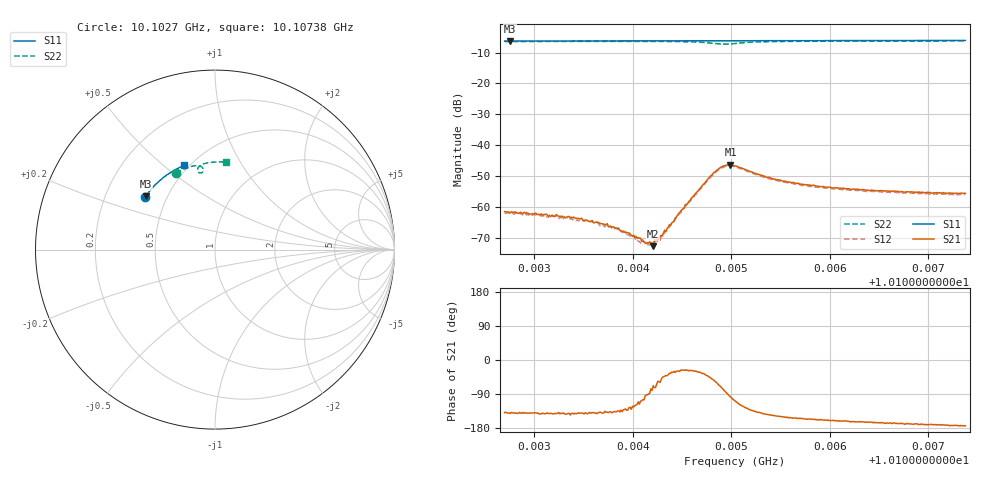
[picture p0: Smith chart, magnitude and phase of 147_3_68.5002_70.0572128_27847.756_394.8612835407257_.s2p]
#  HZ  S  RI  R  50.00
! Rohde & Schwarz Vector Network Analyzer
! Rohde-Schwarz,ZNB20-2Port,1311601062101988,3.16
! Created: UTC 3/20/2024, 5:10:16 PM
! freq[Hz]  re:S11  im:S11  re:S21  im:S21  re:S12  im:S12  re:S22  im:S22
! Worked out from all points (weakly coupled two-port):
!   401 points, 10.1027 GHz to 10.10738 GHz, reference 50 ohm
!   highest |S21| = -46.38 dB at 10.10499 GHz (marker M1); lowest = -72.8 dB at 10.10421 GHz (marker M2)
!   lowest |S11| = -6.2 dB at 10.10276 GHz (marker M3), VSWR 2.90, Z = 19 + j14.8 ohm
!   |S11| at or under -10 dB: nowhere
!   |S22| runs from -7.2 to -6.2 dB; largest |S21 - S12| = 0.00048
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1.0102698e10  -0.3885 0.2938  -0.000627 -0.000551  -0.00055 -0.000565  -0.2174 0.4272
1.0102757e10  -0.3864 0.2966  -0.000622 -0.000502  -0.000553 -0.000567  -0.2141 0.4289
1.0103178e10  -0.3713 0.3173  -0.000569 -0.000455  -0.000509 -0.000464  -0.1891 0.4418
1.0103236e10  -0.3691 0.3202  -0.000548 -0.000452  -0.000495 -0.000467  -0.1856 0.4435
1.0103482e10  -0.3597 0.3318  -0.0005 -0.000414  -0.000433 -0.000407  -0.1703 0.45
1.0103751e10  -0.349 0.3441  -0.000358 -0.000315  -0.000347 -0.000355  -0.153 0.4568
1.0103938e10  -0.3413 0.3525  -0.000262 -0.000283  -0.000186 -0.000308  -0.1402 0.4609
1.0104055e10  -0.3363 0.3577  -0.000111 -0.000296  -9.38e-05 -0.000259  -0.1319 0.4634
1.0104114e10  -0.3338 0.3602  -7.04e-05 -0.00026  -5.69e-05 -0.000266  -0.1275 0.4645
1.0104172e10  -0.3314 0.3627  1.24e-05 -0.000273  5.21e-05 -0.000235  -0.1232 0.4655
1.0104207e10  -0.3299 0.3642  8.63e-05 -0.000213  0.000102 -0.000234  -0.1204 0.466
1.0104266e10  -0.3274 0.3666  0.000165 -0.000258  0.000176 -0.00023  -0.1157 0.4668
1.0104535e10  -0.3153 0.3779  0.000979 -0.000488  0.00095 -0.000382  -0.0913 0.4674
1.0104804e10  -0.303 0.3885  0.00211 -0.00252  0.00229 -0.0022  -0.065 0.4459
1.0104909e10  -0.2982 0.3924  0.00119 -0.00433  0.00149 -0.00404  -0.0731 0.4287
1.0104991e10  -0.2945 0.3954  -0.000574 -0.00476  -0.000134 -0.00458  -0.0888 0.429
1.0105038e10  -0.2922 0.3973  -0.00141 -0.00438  -0.000978 -0.00435  -0.0947 0.4351
1.0105436e10  -0.2734 0.4121  -0.00235 -0.00155  -0.00212 -0.00168  -0.0742 0.473
1.0105822e10  -0.254 0.4255  -0.00202 -0.000877  -0.00188 -0.001  -0.0446 0.4826
1.0106196e10  -0.2347 0.4374  -0.00186 -0.000612  -0.0017 -0.00074  -0.0183 0.4865
1.0106606e10  -0.213 0.4495  -0.00173 -0.000422  -0.00162 -0.000568  0.0093 0.4883
1.0107378e10  -0.1708 0.4688  -0.00165 -0.000176  -0.00153 -0.00034  0.0602 0.4868
